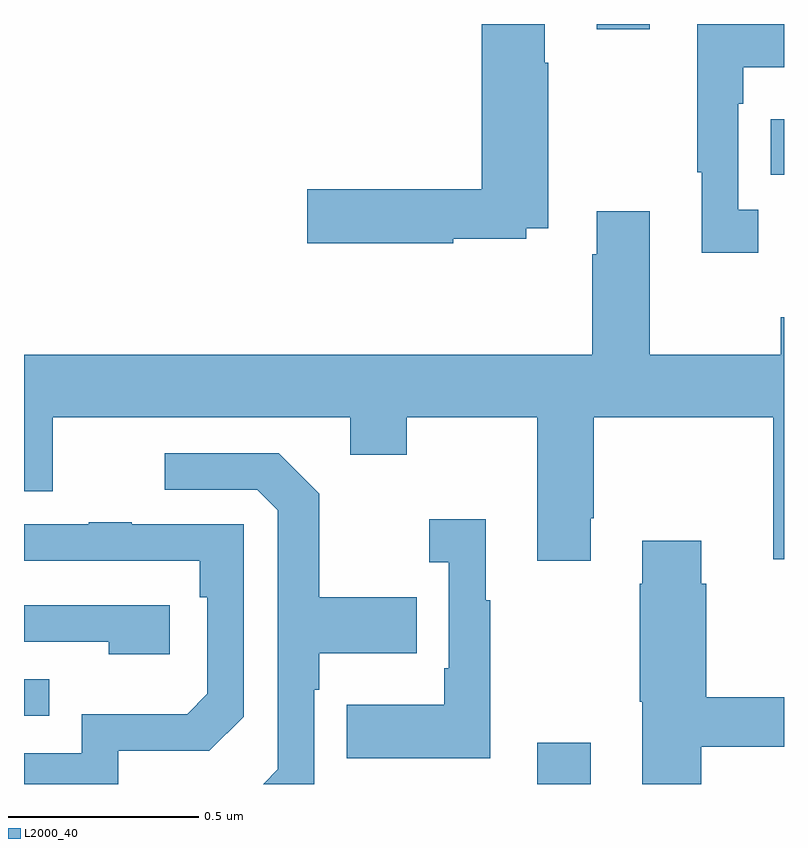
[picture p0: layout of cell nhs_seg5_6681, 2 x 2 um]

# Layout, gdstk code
import gdstk
lib = gdstk.Library(unit=1e-6, precision=1e-09)
def R(c, l, rs):  # rectangles x0, y0, x1, y1
    for r in rs: c.add(gdstk.rectangle(r[:2], r[2:], *l))
def P(c, l, *ps):  # polygons
    for p in ps: c.add(gdstk.Polygon(p, *l))
L2000_40 = (2000, 40)

nhs_seg5_6681 = lib.new_cell('nhs_seg5_6681')
R(nhs_seg5_6681, L2000_40, [(200.351,851.799,200.491,851.908), (199,851.979,199.067,852.075), (200.965,853.402,201,853.549), (200.507,853.785,200.647,853.799)])
P(nhs_seg5_6681, L2000_40, [(200.13,853.234),(200.322,853.234),(200.322,853.262),(200.379,853.262),(200.379,853.697),(200.371,853.697),(200.371,853.799),(200.204,853.799),(200.204,853.364),(199.746,853.364),(199.746,853.222),(200.13,853.222)],
  [(200.932,853.31),(200.88,853.31),(200.88,853.589),(200.893,853.589),(200.893,853.685),(201,853.685),(201,853.799),(200.772,853.799),(200.772,853.409),(200.783,853.409),(200.783,853.197),(200.932,853.197)],
  [(200.491,852.499),(200.499,852.499),(200.499,852.764),(200.972,852.764),(200.972,852.39),(201,852.39),(201,853.027),(200.992,853.027),(200.992,852.928),(200.647,852.928),(200.647,853.306),(200.507,853.306),(200.507,853.193),(200.495,853.193),(200.495,852.928),(199,852.928),(199,852.57),(199.075,852.57),(199.075,852.764),(199.859,852.764),(199.859,852.665),(200.007,852.665),(200.007,852.764),(200.351,852.764),(200.351,852.387),(200.491,852.387)],
  [(199.764,852.047),(199.777,852.047),(199.777,852.143),(200.033,852.143),(200.033,852.291),(199.777,852.291),(199.777,852.563),(199.671,852.669),(199.371,852.669),(199.371,852.573),(199.614,852.573),(199.668,852.519),(199.668,851.838),(199.629,851.799),(199.764,851.799)],
  [(200.227,852.283),(200.215,852.283),(200.215,852.496),(200.067,852.496),(200.067,852.383),(200.118,852.383),(200.118,852.103),(200.106,852.103),(200.106,852.007),(199.849,852.007),(199.849,851.867),(200.227,851.867)],
  [(199.248,851.886),(199.488,851.886),(199.578,851.976),(199.578,852.483),(199.283,852.483),(199.283,852.488),(199.171,852.488),(199.171,852.483),(199,852.483),(199,852.387),(199.462,852.387),(199.462,852.29),(199.482,852.29),(199.482,852.036),(199.429,851.983),(199.152,851.983),(199.152,851.88),(199,851.88),(199,851.799),(199.248,851.799)],
  [(200.782,851.897),(201,851.897),(201,852.027),(200.795,852.027),(200.795,852.326),(200.782,852.326),(200.782,852.439),(200.627,852.439),(200.627,852.326),(200.62,852.326),(200.62,852.015),(200.627,852.015),(200.627,851.799),(200.782,851.799)],
  [(199.384,852.27),(199,852.27),(199,852.174),(199.223,852.174),(199.223,852.14),(199.384,852.14)])

lib.write_gds('nhs_seg5_6681.gds')
